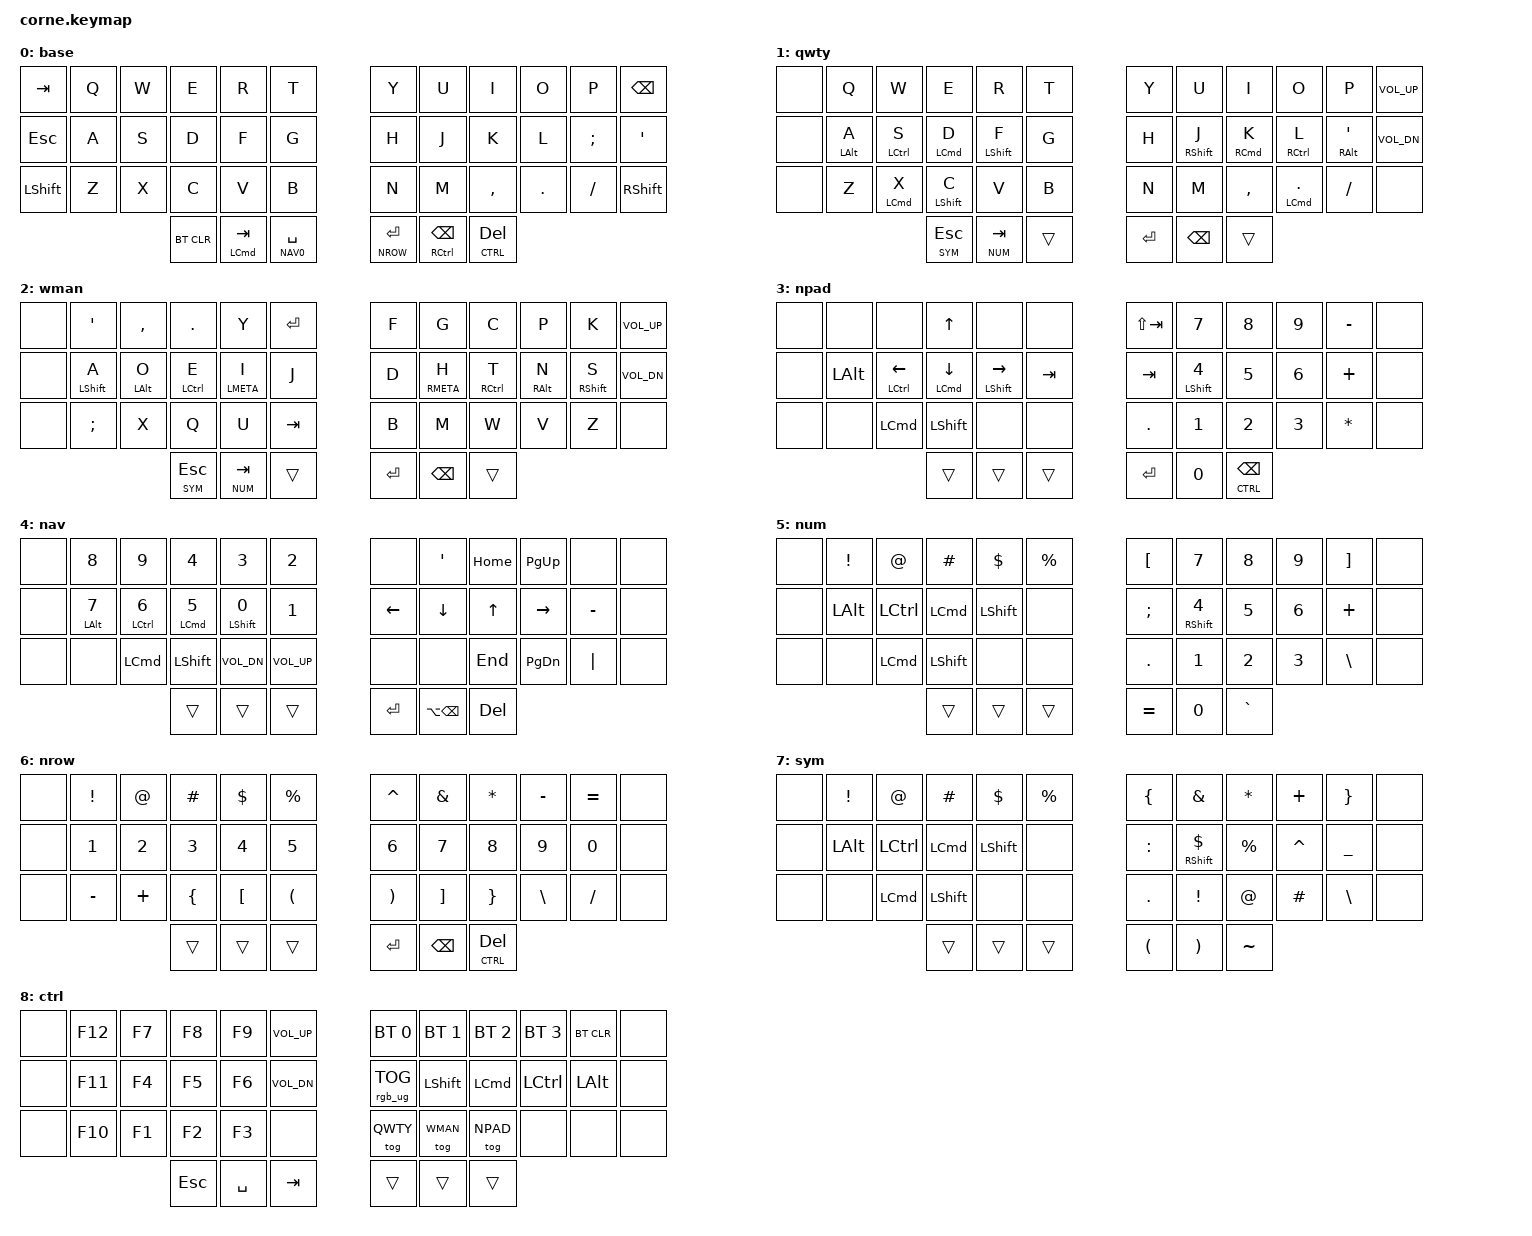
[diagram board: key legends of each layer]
#include <behaviors.dtsi>
#include <dt-bindings/zmk/keys.h>
#include <dt-bindings/zmk/bt.h>
#include <dt-bindings/zmk/rgb.h>

#define DEFAULT 0
#define QWTY 1
#define WMAN 2
#define NPAD 3
#define NAV0 4
#define NUM  5
#define NROW 6
#define SYM  7
#define CTRL 8


/ {
    behaviors {
        hm: homerow_mods {
            compatible = "zmk,behavior-hold-tap";
            label = "HOMEROW_MODS";
            #binding-cells = <2>;
            tapping-term-ms = <200>;
            quick_tap_ms = <0>;
            flavor = "tap-preferred";
            bindings = <&kp>, <&kp>;
        };
    };

        keymap {
                compatible = "zmk,keymap";
                default_layer {
                  label = "base";
// -----------------------------------------------------------------------------------------
// |  TAB |  Q   |  W   |  E   |  R   |  T  |   |  Y  |  U   |  I   |  O   |  P   | BSPC |
// |  ESC |  A   |  S   |  D   |  F   |  G  |   |  H  |  J   |  K   |  L   |  ;   |  '   |
// | LSFT |  Z   |  X   |  C   |  V   |  B  |   |  N  |  M   |  ,   |  .   |  /   | RSFT |
//          | LALT/ESC | LCMD/TAB| NAV0/SPC |   | NROW/RET | RCTL/BSPC | CTRL/DEL |
                        bindings = <
   &kp TAB    &kp Q  &kp W  &kp E  &kp R  &kp T   &kp Y  &kp U  &kp I      &kp O    &kp P     &kp BSPC
   &kp ESC    &kp A  &kp S  &kp D  &kp F  &kp G   &kp H  &kp J  &kp K      &kp L    &kp SEMI  &kp SQT
   &kp LSHFT  &kp Z  &kp X  &kp C  &kp V  &kp B   &kp N  &kp M  &kp COMMA  &kp DOT  &kp FSLH  &kp RSHFT
       &bt BT_CLR &mt LCMD TAB &lt NAV0 SPACE   &lt NROW RET &mt RCTRL BSPC &lt CTRL DEL
                        >;
                };
                qwerty_layer {
                  label = "qwty";
// -----------------------------------------------------------------------------------------
// |    |  Q   |  W   |  E   |  R   |  T  |   |  Y  |  U   |  I   |  O   |  P   |     |
// |    |  A/⌥ |  S/^ |  D/⌘ |  F/⇧ |  G  |   |  H  |  J/⇧ |  K/⌘ |  L/^ | '/⌥  |     |
// |    |  Z   |  X/⌘ |  C/⇧ |  V   |  B  |   |  N  |  M   |  ,   |  ./⌘ |  /   |     |
//           | SYM ESC | NUM TAB | NAV0/SPC |   | RET | BSPC | CTRL/DEL |
                        bindings = <
   &none  &kp Q       &kp W        &kp E       &kp R        &kp T   &kp Y  &kp U        &kp I      &kp O        &kp P          &kp C_VOL_UP
   &none  &hm LALT A  &hm LCTRL S  &hm LCMD D  &hm LSHFT F  &kp G   &kp H  &hm RSHFT J  &hm RCMD K &hm RCTRL L  &hm RALT SQT   &kp C_VOL_DN
   &none  &kp Z       &hm LCMD X   &hm LSHFT C &kp V        &kp B   &kp N  &kp M        &kp COMMA  &hm LCMD DOT &kp FSLH       &none
                                  &lt SYM ESC  &lt NUM TAB &trans   &kp RET &kp BSPC &trans
                        >;
                };
                workman_layer {
                  label = "wman";
// -----------------------------------------------------------------------------------------
// |      |  Q   |  D   |  R   |  W   |  B  |   |  J  |  F   |  U   |  P   |  '   | VOL UP |
// |      |  A/⌥ |  S/^ |  H/⌘ |  T/⇧ |  G  |   |  Y  |  N/⇧ |  E/⌘ |  O/^ |  I/⌥ | VOL DN |
// |      |  Z   |  X/⌘ |  M/⇧ |  C   |  V  |   |  K  |  L   |  ,   |  ./⌘ |  /   |        |
//           | SYM ESC | NUM TAB | NAV0/SPC |   | RET | BSPC | CTRL/DEL |
                        bindings = <
   &none   &kp APOS    &kp COMMA    &kp DOT     &kp Y        &kp RET    &kp F  &kp G        &kp C       &kp P        &kp K         &kp C_VOL_UP
   &none   &hm LSHFT A &hm LALT O   &hm LCTRL E &hm LMETA I  &kp J      &kp D  &hm RMETA H  &hm RCTRL T &hm RALT N   &hm RSHIFT S  &kp C_VOL_DN
   &none   &kp SCLN    &kp X        &kp Q       &kp U        &kp TAB    &kp B  &kp M        &kp W       &kp V        &kp Z         &none
                                   &lt SYM ESC  &lt NUM TAB &trans   &kp RET &kp BSPC &trans
                        >;
                };
                npad_layer {
                  label = "npad";
// -----------------------------------------------------------------------------------------
// |       |   |        | UP     |         |     |   | S-TAB   |  7    |  8  |  9  |  -  |      |
// |       | ⌥ | LEFT/^ | DOWN/⌘ | RIGHT/⇧ | TAB |   | TAB     |  4/⇧  |  5  |  6  |  +  |      |
// |       |   |        |        |         |     |   | .       |  1    |  2  |  3  |  *  |      |
//                | SYM ESC | NUM TAB | NAV0/SPC |   | RET |  0  | CTRL/BSPC |
                        bindings = <
   &none   &none    &none          &kp UP        &none           &none     &kp LS(TAB) &kp N7       &kp N8 &kp N9 &kp MINUS   &none
   &none   &kp LALT &hm LCTRL LEFT &hm LCMD DOWN &hm LSHFT RIGHT &kp TAB   &kp TAB     &hm LSHFT N4 &kp N5 &kp N6 &kp PLUS    &none
   &none   &none    &kp LCMD       &kp LSHFT     &none           &none     &kp DOT     &kp N1       &kp N2 &kp N3 &kp ASTRK   &none
                                                    &trans &trans &trans   &kp RET &kp N0 &lt CTRL BSPC
                        >;
                };
                nav0_layer {
                  label = "nav";
// -----------------------------------------------------------------------------------------
// |      | 8    | 9    | 4    |  3     | 2      |   |      |  '   | HOME | PGUP  |     |      |
// |      | 7/⌥  | 6/^  | 5/⌘  |  0/⇧   | 1      |   | LEFT | DOWN | UP   | Right |  -  |      |
// |      |      | ⌘    |   ⇧  | VOL DN | VOL UP |   |      |      | END  | PGDN  | "|" |      |
//             | SYM ESC | NUM TAB | NAV0/SPC |   | RET | BSPC | DEL |
                        bindings = <
   &none  &kp N8       &kp N9        &kp N4       &kp N3        &kp N2          &none     &kp SQT   &kp HOME  &kp PG_UP  &none        &none
   &none  &hm LALT N7  &hm LCTRL N6  &hm LCMD N5  &hm LSHFT N0  &kp N1          &kp LEFT  &kp DOWN  &kp UP    &kp RIGHT  &kp MINUS    &none
   &none  &none        &kp LCMD      &kp LSHFT    &kp C_VOL_DN  &kp C_VOL_UP    &none     &none     &kp END   &kp PG_DN  &kp PIPE     &none
                                                  &trans &trans &trans          &kp RET &kp LA(BSPC) &kp DEL
                        >;
                };
                num_layer {
                  label = "num";
// -----------------------------------------------------------------------------------------
// |      |  !  |  @  |  #  |  $  |  %  |   |  [  |  7   |  8  |  9  |  ]  |    |
// |      |  ⌥  |  ^  |  ⌘  |  ⇧  |     |   |  ;  |  4/⇧ |  5  |  6  |  +  |    |
// |      |     |  ⌘  |  ⇧  |     |     |   |  .  |  1   |  2  |  3  |  \  |    |
//       | SYM ESC | NUM TAB | NAV0/SPC |   | = |  0  | ` |
                        bindings = <
   &none  &kp EXCL  &kp AT     &kp HASH  &kp DLLR  &kp PRCNT   &kp LBKT    &kp N7       &kp N8 &kp N9 &kp RBKT    &none
   &none  &kp LALT  &kp LCTRL  &kp LCMD  &kp LSHFT &none       &kp SEMI    &hm RSHFT N4 &kp N5 &kp N6 &kp PLUS    &none
   &none  &none     &kp LCMD   &kp LSHFT &none     &none       &kp DOT     &kp N1       &kp N2 &kp N3 &kp BSLH    &none
                                       &trans &trans &trans    &kp EQUAL   &kp N0 &kp GRAVE
                        >;
                };
                nrow_layer {
                  label = "nrow";
// -----------------------------------------------------------------------------------------
// |      |  !  |  @  |  #  |  $  |  %  |   |  ^  |  &  |  *  |  -  |  =  |      |
// |      |  1  |  2  |  3  |  4  |  5  |   |  6  |  7  |  8  |  9  |  0  |      |
// |      |  -  |  +  |  {  |  [  |  (  |   |  )  |  ]  |  }  |  \  |  /  |      |
//       | SYM ESC | NUM TAB | NAV0/SPC |   |     | RET | BSPC | CTRL/DEL |
                        bindings = <
   &none &kp EXCL  &kp AT   &kp HASH &kp DLLR  &kp PRCNT   &kp CARET &kp AMPS  &kp ASTRK &kp MINUS &kp EQUAL &none
   &none &kp N1    &kp N2   &kp N3   &kp N4    &kp N5      &kp N6    &kp N7    &kp N8    &kp N9    &kp N0    &none
   &none &kp MINUS &kp PLUS &kp LBRC &kp LBKT  &kp LPAR    &kp RPAR  &kp RBKT  &kp RBRC  &kp BSLH  &kp FSLH  &none
                                   &trans &trans &trans    &kp RET &kp BSPC &lt CTRL DEL
                        >;
                };
                sym_layer {
                  label = "sym";
// -----------------------------------------------------------------------------------------
// |      |  !  |  @  |  #  |  $  |  %  |   | {  |  &  |  *  |  +  |  }  |    |
// |      |  ⌥  |  ^  |  ⌘  |  ⇧  |     |   | :  | $/⇧ |  %  |  ^  |  _  |    |
// |      |     |  ⌘  |  ⇧  |     |     |   | .  |  !  |  @  |  #  |  \  |    |
//       | SYM ESC | NUM TAB | NAV0/SPC |   | (  |  )  | ~ |
                        bindings = <
   &none  &kp EXCL  &kp AT     &kp HASH  &kp DLLR  &kp PRCNT   &kp LBRC    &kp AMPS        &kp ASTRK  &kp PLUS  &kp RBRC   &none
   &none  &kp LALT  &kp LCTRL  &kp LCMD  &kp LSHFT &none       &kp COLON   &hm RSHFT DLLR  &kp PRCNT  &kp CARET &kp UNDER  &none
   &none  &none     &kp LCMD   &kp LSHFT &none     &none       &kp DOT     &kp EXCL        &kp AT     &kp HASH  &kp BSLH   &none
                                       &trans &trans &trans    &kp LPAR    &kp RPAR &kp TILDE
                        >;
                }; 
                ctrl_layer {
                  label = "ctrl";
// -----------------------------------------------------------------------------------------
// |    | F12 | F7 | F8 | F9 |    |   | bt 0    | bt 1    | bt 2    | bt 3 | btclr |   |
// |    | F11 | F4 | F5 | F6 |    |   | RGB_TOG |  ⇧      |  ⌘      |  ^   |   ⌥   |   |
// |    | F10 | F1 | F2 | F3 |    |   | TG QWTY | TG WMAN | TG NPAD |      |       |   |
//              | ESC | TAB | SPC |   | RET | BSPC | CTRL/DEL |
                        bindings = <
   &none &kp F12 &kp F7 &kp F8 &kp F9 &kp C_VOL_UP     &bt BT_SEL 0    &bt BT_SEL 1 &bt BT_SEL 2 &bt BT_SEL 3 &bt BT_CLR &none
   &none &kp F11 &kp F4 &kp F5 &kp F6 &kp C_VOL_DN     &rgb_ug RGB_TOG &kp LSHFT    &kp LCMD     &kp LCTRL    &kp LALT   &none
   &none &kp F10 &kp F1 &kp F2 &kp F3 &none            &tog QWTY       &tog WMAN    &tog NPAD    &none        &none      &none
                         &kp ESC &kp SPACE &kp TAB     &trans &trans &trans
                        >;
                };
        };
};  
